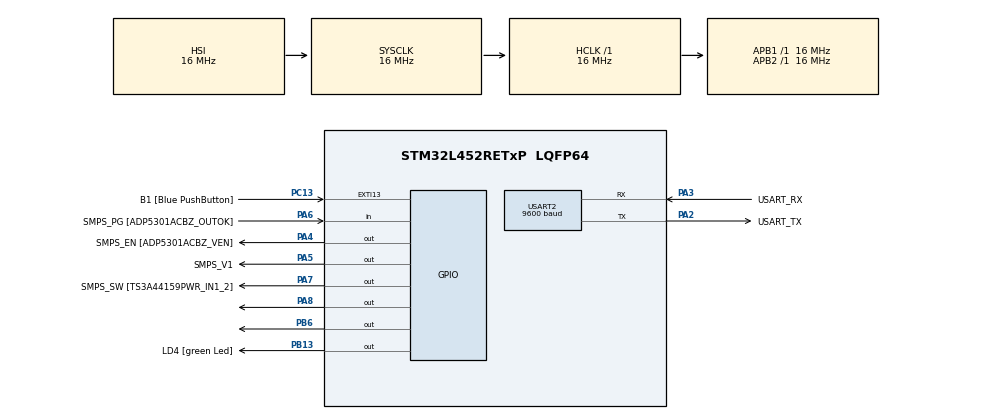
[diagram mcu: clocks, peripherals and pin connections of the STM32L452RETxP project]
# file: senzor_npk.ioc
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Mcu.Family=STM32L4
Mcu.Name=STM32L452RETxP
Mcu.Package=LQFP64
NVIC.PriorityGroup=NVIC_PRIORITYGROUP_4
PA13\ (JTMS/SWDIO).GPIO_Label=TMS
PA13\ (JTMS/SWDIO).Mode=Serial_Wire
PA13\ (JTMS/SWDIO).Signal=SYS_JTMS-SWDIO
PA14\ (JTCK/SWCLK).GPIO_Label=TCK
PA14\ (JTCK/SWCLK).Mode=Serial_Wire
PA14\ (JTCK/SWCLK).Signal=SYS_JTCK-SWCLK
PA2.GPIO_Label=USART_TX
PA2.GPIO_Mode=GPIO_MODE_AF_PP
PA2.GPIO_PuPd=GPIO_NOPULL
PA2.GPIO_Speed=GPIO_SPEED_FREQ_VERY_HIGH
PA2.Mode=Asynchronous
PA2.Signal=USART2_TX
PA3.GPIO_Label=USART_RX
PA3.GPIO_Mode=GPIO_MODE_AF_PP
PA3.GPIO_PuPd=GPIO_NOPULL
PA3.GPIO_Speed=GPIO_SPEED_FREQ_VERY_HIGH
PA3.Mode=Asynchronous
PA3.Signal=USART2_RX
PA4.GPIO_Label=SMPS_EN [ADP5301ACBZ_VEN]
PA4.Signal=GPIO_Output
PA5.GPIO_Label=SMPS_V1
PA5.GPIO_ModeDefaultOutputPP=GPIO_MODE_OUTPUT_PP
PA5.GPIO_PuPd=GPIO_NOPULL
PA5.GPIO_Speed=GPIO_SPEED_FREQ_LOW
PA5.Signal=GPIO_Output
PA6.GPIO_Label=SMPS_PG [ADP5301ACBZ_OUTOK]
PA6.GPIO_PuPd=GPIO_PULLUP
PA6.Signal=GPIO_Input
PA7.GPIO_Label=SMPS_SW [TS3A44159PWR_IN1_2]
PA7.Signal=GPIO_Output
PA8.Signal=GPIO_Output
PB13.GPIO_Label=LD4 [green Led]
PB13.Signal=GPIO_Output
PB3\ (JTDO/TRACESWO).GPIO_Label=SWO
PB3\ (JTDO/TRACESWO).Signal=SYS_JTDO-SWO
PB6.Signal=GPIO_Output
PC13.GPIO_Label=B1 [Blue PushButton]
PC13.GPIO_ModeDefaultEXTI=GPIO_MODE_IT_FALLING
PC13.GPIO_PuPd=GPIO_NOPULL
PC13.Signal=GPXTI13
PC14-OSC32_IN\ (PC14).Mode=LSE-External-Oscillator
PC14-OSC32_IN\ (PC14).Signal=RCC_OSC32_IN
PC15-OSC32_OUT\ (PC15).Mode=LSE-External-Oscillator
PC15-OSC32_OUT\ (PC15).Signal=RCC_OSC32_OUT
PH0-OSC_IN\ (PH0).GPIO_Label=MCO
PH0-OSC_IN\ (PH0).Mode=HSE-External-Clock-Source
PH0-OSC_IN\ (PH0).Signal=RCC_OSC_IN
PH1-OSC_OUT\ (PH1).Signal=RCC_OSC_OUT
ProjectManager.HeapSize=0x200
ProjectManager.StackSize=0x400
ProjectManager.TargetToolchain=STM32CubeIDE
RCC.ADCFreq_Value=64000000
RCC.AHBFreq_Value=16000000
RCC.APB1Freq_Value=16000000
RCC.APB1TimFreq_Value=16000000
RCC.APB2Freq_Value=16000000
RCC.APB2TimFreq_Value=16000000
RCC.CortexFreq_Value=16000000
RCC.HCLKFreq_Value=16000000
RCC.HSE_VALUE=8000000
RCC.HSI48_VALUE=48000000
RCC.HSI_VALUE=16000000
RCC.MSI_VALUE=4000000
RCC.PLLN=10
RCC.PLLSourceVirtual=RCC_PLLSOURCE_HSI
RCC.PREFETCH_ENABLE=1
RCC.SYSCLKFreq_VALUE=16000000
RCC.SYSCLKSource=RCC_SYSCLKSOURCE_HSI
RCC.USBFreq_Value=64000000
RCC.VCOOutputFreq_Value=160000000
USART2.BaudRate=9600
USART2.VirtualMode-Asynchronous=VM_ASYNC
board=NUCLEO-L452RE-P

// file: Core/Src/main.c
/* USER CODE BEGIN Header */
/**
  ******************************************************************************
  * @file           : main.c
  * @brief          : Main program body
  ******************************************************************************
  * @attention
  *
  * Copyright (c) 2023 STMicroelectronics.
  * All rights reserved.
  *
  * This software is licensed under terms that can be found in the LICENSE file
  * in the root directory of this software component.
  * If no LICENSE file comes with this software, it is provided AS-IS.
  *
  ******************************************************************************
  */
/* USER CODE END Header */
#include "main.h"

/* USER CODE BEGIN PD */
#define INQ_FRAME_SIZE  8
#define RESP_FRAME_SIZE 7
/* USER CODE END PD */

UART_HandleTypeDef huart2;

/* USER CODE BEGIN PV */
/* sequence of bytes for measuring the amount of N */
const uint8_t n_inquiry_frame[] = {0x01, 0x03, 0x00, 0x1e, 0x00, 0x01, 0xe4, 0x0c};
/* sequence of bytes for measuring the amount of P */
const uint8_t p_inquiry_frame[] = {0x01, 0x03, 0x00, 0x1f, 0x00, 0x01, 0xb5, 0xcc};
/* sequence of bytes for measuring the amount of K */
const uint8_t k_inquiry_frame[] = {0x01, 0x03, 0x00, 0x20, 0x00, 0x01, 0x85, 0xc0};
/* USER CODE END PV */

void SystemClock_Config(void);
static void MX_GPIO_Init(void);
static void MX_USART2_UART_Init(void);
/* USER CODE BEGIN PFP */
static uint16_t Read_N(void);
static uint16_t Read_P(void);
static uint16_t Read_K(void);
static void delay(void);
/* USER CODE END PFP */

int main(void)
{
  /* USER CODE BEGIN 1 */
  uint16_t n, p, k;
  /* USER CODE END 1 */

  /* MCU Configuration--------------------------------------------------------*/

  /* Reset of all peripherals, Initializes the Flash interface and the Systick. */
  HAL_Init();

  /* Configure the system clock */
  SystemClock_Config();

  /* Initialize all configured peripherals */
  MX_GPIO_Init();
  MX_USART2_UART_Init();

  /* Infinite loop */
  while (1)
  {
	  n = Read_N();
	  p = Read_P();
	  k = Read_K();
  }
}

void SystemClock_Config(void)
{
  RCC_OscInitTypeDef RCC_OscInitStruct = {0};
  RCC_ClkInitTypeDef RCC_ClkInitStruct = {0};

  /** Configure the main internal regulator output voltage
  */
  if (HAL_PWREx_ControlVoltageScaling(PWR_REGULATOR_VOLTAGE_SCALE1) != HAL_OK)
  {
    Error_Handler();
  }

  /** Initializes the RCC Oscillators according to the specified parameters
  * in the RCC_OscInitTypeDef structure.
  */
  RCC_OscInitStruct.OscillatorType = RCC_OSCILLATORTYPE_HSI;
  RCC_OscInitStruct.HSIState = RCC_HSI_ON;
  RCC_OscInitStruct.HSICalibrationValue = RCC_HSICALIBRATION_DEFAULT;
  RCC_OscInitStruct.PLL.PLLState = RCC_PLL_NONE;
  if (HAL_RCC_OscConfig(&RCC_OscInitStruct) != HAL_OK)
  {
    Error_Handler();
  }

  /** Initializes the CPU, AHB and APB buses clocks
  */
  RCC_ClkInitStruct.ClockType = RCC_CLOCKTYPE_HCLK|RCC_CLOCKTYPE_SYSCLK
                              |RCC_CLOCKTYPE_PCLK1|RCC_CLOCKTYPE_PCLK2;
  RCC_ClkInitStruct.SYSCLKSource = RCC_SYSCLKSOURCE_HSI;
  RCC_ClkInitStruct.AHBCLKDivider = RCC_SYSCLK_DIV1;
  RCC_ClkInitStruct.APB1CLKDivider = RCC_HCLK_DIV1;
  RCC_ClkInitStruct.APB2CLKDivider = RCC_HCLK_DIV1;

  if (HAL_RCC_ClockConfig(&RCC_ClkInitStruct, FLASH_LATENCY_0) != HAL_OK)
  {
    Error_Handler();
  }
}

static void MX_USART2_UART_Init(void)
{

  huart2.Instance = USART2;
  huart2.Init.BaudRate = 9600;
  huart2.Init.WordLength = UART_WORDLENGTH_8B;
  huart2.Init.StopBits = UART_STOPBITS_1;
  huart2.Init.Parity = UART_PARITY_NONE;
  huart2.Init.Mode = UART_MODE_TX_RX;
  huart2.Init.HwFlowCtl = UART_HWCONTROL_NONE;
  huart2.Init.OverSampling = UART_OVERSAMPLING_16;
  huart2.Init.OneBitSampling = UART_ONE_BIT_SAMPLE_DISABLE;
  huart2.AdvancedInit.AdvFeatureInit = UART_ADVFEATURE_NO_INIT;
  if (HAL_UART_Init(&huart2) != HAL_OK)
  {
    Error_Handler();
  }

}

static void MX_GPIO_Init(void)
{
  GPIO_InitTypeDef GPIO_InitStruct = {0};

  /* GPIO Ports Clock Enable */
  __HAL_RCC_GPIOC_CLK_ENABLE();
  __HAL_RCC_GPIOH_CLK_ENABLE();
  __HAL_RCC_GPIOA_CLK_ENABLE();
  __HAL_RCC_GPIOB_CLK_ENABLE();

  /*Configure GPIO pin Output Level */
  HAL_GPIO_WritePin(GPIOA, SMPS_EN_Pin|SMPS_V1_Pin|SMPS_SW_Pin|GPIO_PIN_8, GPIO_PIN_RESET);

  /*Configure GPIO pin Output Level */
  HAL_GPIO_WritePin(GPIOB, LD4_Pin|GPIO_PIN_6, GPIO_PIN_RESET);

  /*Configure GPIO pin : B1_Pin */
  GPIO_InitStruct.Pin = B1_Pin;
  GPIO_InitStruct.Mode = GPIO_MODE_IT_FALLING;
  GPIO_InitStruct.Pull = GPIO_NOPULL;
  HAL_GPIO_Init(B1_GPIO_Port, &GPIO_InitStruct);

  /*Configure GPIO pins : SMPS_EN_Pin SMPS_V1_Pin SMPS_SW_Pin PA8 */
  GPIO_InitStruct.Pin = SMPS_EN_Pin|SMPS_V1_Pin|SMPS_SW_Pin|GPIO_PIN_8;
  GPIO_InitStruct.Mode = GPIO_MODE_OUTPUT_PP;
  GPIO_InitStruct.Pull = GPIO_NOPULL;
  GPIO_InitStruct.Speed = GPIO_SPEED_FREQ_LOW;
  HAL_GPIO_Init(GPIOA, &GPIO_InitStruct);

  /*Configure GPIO pin : SMPS_PG_Pin */
  GPIO_InitStruct.Pin = SMPS_PG_Pin;
  GPIO_InitStruct.Mode = GPIO_MODE_INPUT;
  GPIO_InitStruct.Pull = GPIO_PULLUP;
  HAL_GPIO_Init(SMPS_PG_GPIO_Port, &GPIO_InitStruct);

  /*Configure GPIO pins : LD4_Pin PB6 */
  GPIO_InitStruct.Pin = LD4_Pin|GPIO_PIN_6;
  GPIO_InitStruct.Mode = GPIO_MODE_OUTPUT_PP;
  GPIO_InitStruct.Pull = GPIO_NOPULL;
  GPIO_InitStruct.Speed = GPIO_SPEED_FREQ_LOW;
  HAL_GPIO_Init(GPIOB, &GPIO_InitStruct);

}

/* USER CODE BEGIN 4 */
static uint16_t Read_N(void)
{
	uint8_t SensorResponse[RESP_FRAME_SIZE];
	uint16_t RetValue = 0;

	/* enable Driver & Receiver */
	HAL_GPIO_WritePin(GPIOA, GPIO_PIN_8, GPIO_PIN_SET);
	HAL_GPIO_WritePin(GPIOB, GPIO_PIN_6, GPIO_PIN_SET);

	/* send inquiry frame */
	if(HAL_UART_Transmit(&huart2, n_inquiry_frame, INQ_FRAME_SIZE, 100) != HAL_OK)
	{
		Error_Handler();
	}

	delay();

	/* receive response frame */
	if(HAL_UART_Receive(&huart2, SensorResponse, RESP_FRAME_SIZE, 10000) != HAL_OK)
	{
		Error_Handler();
	}

	/* disable Driver & Receiver */
	HAL_GPIO_WritePin(GPIOA, GPIO_PIN_8, GPIO_PIN_RESET);
	HAL_GPIO_WritePin(GPIOB, GPIO_PIN_6, GPIO_PIN_RESET);

	/* calculate the measured value */
	RetValue = (SensorResponse[3] << 8) | SensorResponse[4];

	return RetValue;
}
static uint16_t Read_P(void)
{
	return 1;
}
static uint16_t Read_K(void)
{
	return 1;
}
static void delay(void)
{
	uint32_t i;

	for(i = 0; i < 32000; i++)
		;
}
/* USER CODE END 4 */

void Error_Handler(void)
{
  __disable_irq();
  while (1)
  {
  }
}
